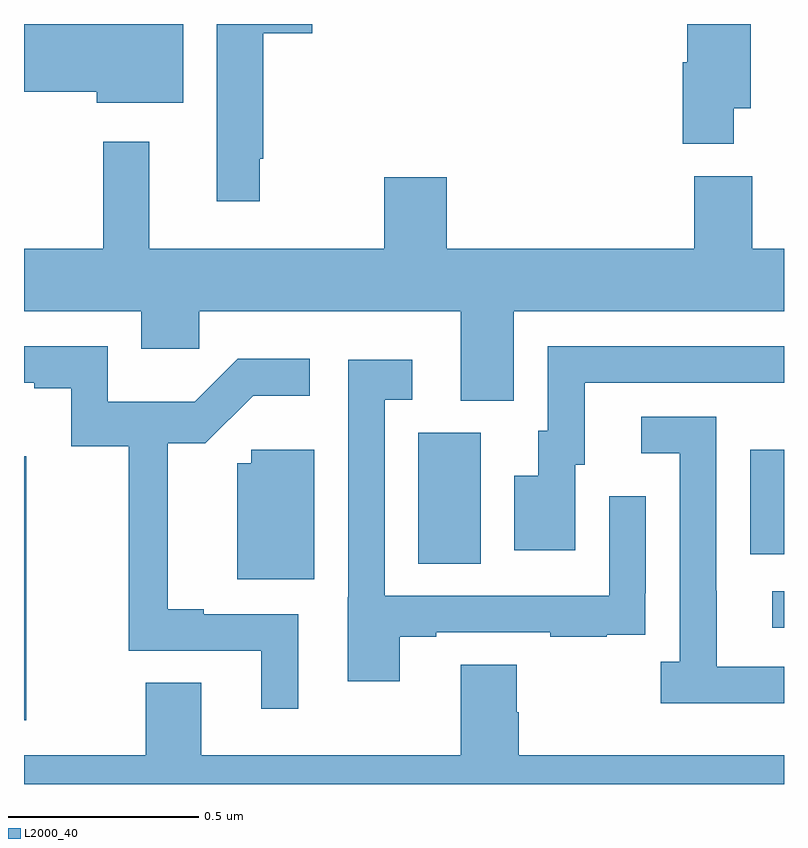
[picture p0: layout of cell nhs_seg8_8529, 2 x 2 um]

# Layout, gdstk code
import gdstk
lib = gdstk.Library(unit=1e-6, precision=1e-09)
def R(c, l, rs):  # rectangles x0, y0, x1, y1
    for r in rs: c.add(gdstk.rectangle(r[:2], r[2:], *l))
def P(c, l, *ps):  # polygons
    for p in ps: c.add(gdstk.Polygon(p, *l))
L2000_40 = (2000, 40)

nhs_seg8_8529 = lib.new_cell('nhs_seg8_8529')
R(nhs_seg8_8529, L2000_40, [(224,1138.068,224.006,1138.763), (225.969,1138.311,226,1138.407), (225.038,1138.48,225.202,1138.824), (225.911,1138.505,226,1138.78)])
P(nhs_seg8_8529, L2000_40, [(224.419,1139.9),(224,1139.9),(224,1139.722),(224.192,1139.722),(224.192,1139.693),(224.419,1139.693)],
  [(224.621,1139.545),(224.629,1139.545),(224.629,1139.876),(224.758,1139.876),(224.758,1139.9),(224.507,1139.9),(224.507,1139.433),(224.621,1139.433)],
  [(225.868,1139.678),(225.913,1139.678),(225.913,1139.9),(225.746,1139.9),(225.746,1139.799),(225.734,1139.799),(225.734,1139.585),(225.868,1139.585)],
  [(225.289,1139.144),(226,1139.144),(226,1139.308),(225.916,1139.308),(225.916,1139.5),(225.764,1139.5),(225.764,1139.308),(225.112,1139.308),(225.112,1139.497),(224.948,1139.497),(224.948,1139.308),(224.329,1139.308),(224.329,1139.59),(224.208,1139.59),(224.208,1139.308),(224,1139.308),(224,1139.144),(224.309,1139.144),(224.309,1139.046),(224.461,1139.046),(224.461,1139.144),(225.149,1139.144),(225.149,1138.909),(225.289,1138.909)],
  [(225.451,1138.74),(225.475,1138.74),(225.475,1138.956),(226,1138.956),(226,1139.052),(225.378,1139.052),(225.378,1138.83),(225.353,1138.83),(225.353,1138.711),(225.29,1138.711),(225.29,1138.515),(225.451,1138.515)],
  [(224.722,1138.347),(224.473,1138.347),(224.473,1138.36),(224.378,1138.36),(224.378,1138.797),(224.477,1138.797),(224.603,1138.922),(224.752,1138.922),(224.752,1139.019),(224.562,1139.019),(224.449,1138.906),(224.22,1138.906),(224.22,1139.052),(224,1139.052),(224,1138.956),(224.027,1138.956),(224.027,1138.942),(224.124,1138.942),(224.124,1138.789),(224.275,1138.789),(224.275,1138.251),(224.624,1138.251),(224.624,1138.098),(224.722,1138.098)],
  [(224.989,1138.287),(225.085,1138.287),(225.085,1138.299),(225.385,1138.299),(225.385,1138.287),(225.533,1138.287),(225.533,1138.293),(225.635,1138.293),(225.635,1138.402),(225.636,1138.402),(225.636,1138.657),(225.54,1138.657),(225.54,1138.395),(224.949,1138.395),(224.949,1138.911),(225.022,1138.911),(225.022,1139.017),(224.853,1139.017),(224.853,1138.392),(224.852,1138.392),(224.852,1138.17),(224.989,1138.17)],
  [(226,1138.209),(225.823,1138.209),(225.823,1138.409),(225.822,1138.409),(225.822,1138.866),(225.624,1138.866),(225.624,1138.77),(225.726,1138.77),(225.726,1138.222),(225.675,1138.222),(225.675,1138.112),(226,1138.112)],
  [(224.764,1138.78),(224.598,1138.78),(224.598,1138.744),(224.561,1138.744),(224.561,1138.439),(224.764,1138.439)],
  [(226,1137.976),(225.302,1137.976),(225.302,1138.089),(225.297,1138.089),(225.297,1138.214),(225.149,1138.214),(225.149,1137.976),(224.467,1137.976),(224.467,1138.166),(224.32,1138.166),(224.32,1137.976),(224,1137.976),(224,1137.9),(226,1137.9)])

lib.write_gds('nhs_seg8_8529.gds')
